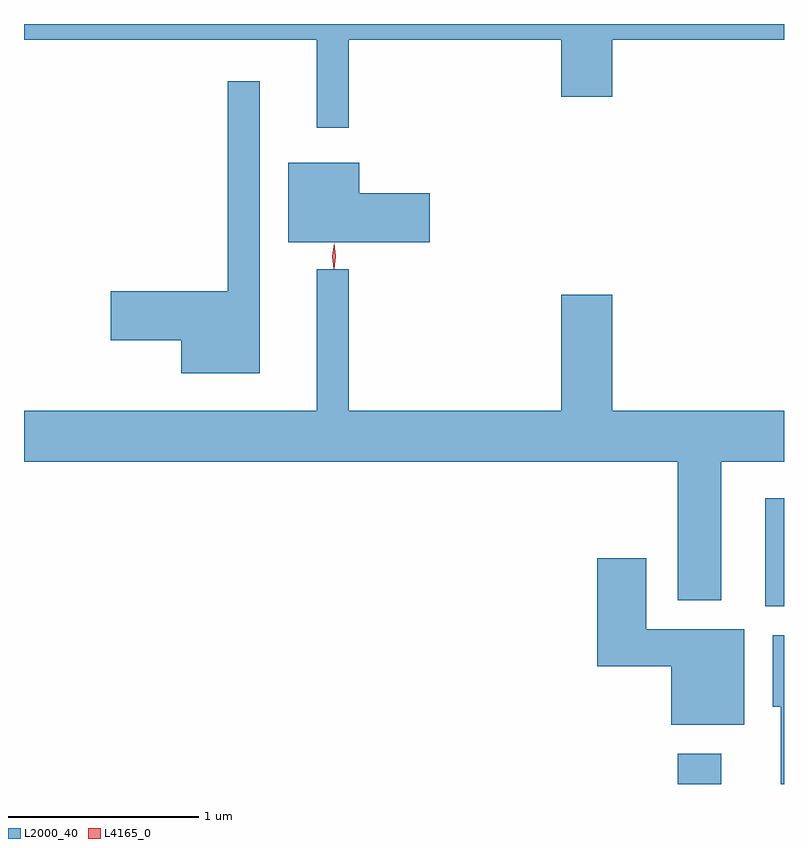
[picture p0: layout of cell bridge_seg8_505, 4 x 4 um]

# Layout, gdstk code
import gdstk
lib = gdstk.Library(unit=1e-6, precision=1e-09)
def R(c, l, rs):  # rectangles x0, y0, x1, y1
    for r in rs: c.add(gdstk.rectangle(r[:2], r[2:], *l))
def P(c, l, *ps):  # polygons
    for p in ps: c.add(gdstk.Polygon(p, *l))
L2000_40 = (2000, 40)
L4165_0 = (4165, 0)

bridge_seg8_505 = lib.new_cell('bridge_seg8_505')
R(bridge_seg8_505, L2000_40, [(315.591,1872.46,315.819,1872.619), (316.051,1873.396,316.149,1873.964)])
P(bridge_seg8_505, L2000_40, [(314.976,1876.076),(315.244,1876.076),(315.244,1876.376),(316.149,1876.376),(316.149,1876.46),(312.149,1876.46),(312.149,1876.376),(313.691,1876.376),(313.691,1875.913),(313.859,1875.913),(313.859,1876.376),(314.976,1876.376)],
  [(313.389,1876.158),(313.221,1876.158),(313.221,1875.054),(312.606,1875.054),(312.606,1874.796),(312.976,1874.796),(312.976,1874.621),(313.389,1874.621)],
  [(314.284,1875.569),(313.914,1875.569),(313.914,1875.729),(313.541,1875.729),(313.541,1875.311),(314.284,1875.311)],
  [(315.819,1874.156),(316.149,1874.156),(316.149,1874.424),(315.244,1874.424),(315.244,1875.034),(314.976,1875.034),(314.976,1874.424),(313.859,1874.424),(313.859,1875.168),(313.691,1875.168),(313.691,1874.424),(312.149,1874.424),(312.149,1874.156),(315.591,1874.156),(315.591,1873.426),(315.819,1873.426)],
  [(315.939,1873.274),(315.424,1873.274),(315.424,1873.649),(315.166,1873.649),(315.166,1873.081),(315.556,1873.081),(315.556,1872.771),(315.939,1872.771)],
  [(316.149,1873.244),(316.091,1873.244),(316.091,1872.866),(316.131,1872.866),(316.131,1872.46),(316.149,1872.46)])
P(bridge_seg8_505, L4165_0, [(313.78,1875.17),(313.78,1875.17),(313.771,1875.238),(313.782,1875.305),(313.782,1875.306),(313.783,1875.305),(313.791,1875.238),(313.781,1875.17)],
  [(313.78,1875.173),(313.78,1875.174),(313.771,1875.236),(313.782,1875.299),(313.782,1875.3),(313.783,1875.299),(313.791,1875.236),(313.781,1875.174)])

lib.write_gds('bridge_seg8_505.gds')
